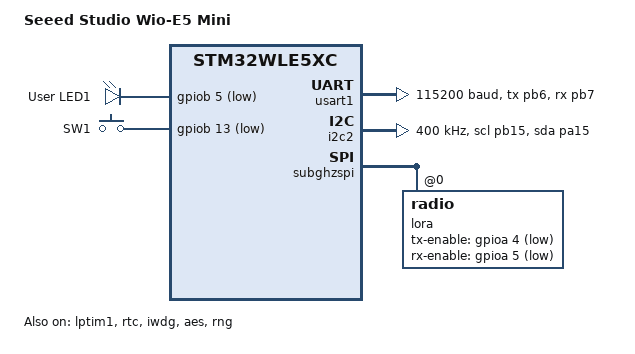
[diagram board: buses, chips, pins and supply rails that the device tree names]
/*
 * Copyright (c) 2026 Seeed Studio
 *
 * SPDX-License-Identifier: Apache-2.0
 */

/dts-v1/;
#include <st/wl/stm32wle5Xc.dtsi>
#include <zephyr/dt-bindings/pinctrl/stm32-pinctrl.h>
#include <zephyr/dt-bindings/input/input-event-codes.h>

/ {
	model = "Seeed Studio Wio-E5 Mini";
	compatible = "seeed,wio-e5-mini";

	chosen {
		zephyr,console = &usart1;
		zephyr,shell-uart = &usart1;
		zephyr,sram = &sram0;
		zephyr,flash = &flash0;
		zephyr,code-partition = &slot0_partition;
	};

	leds {
		compatible = "gpio-leds";

		red_led_1: led_1 {
			gpios = <&gpiob 5 GPIO_ACTIVE_LOW>;
			label = "User LED1";
		};
	};

	gpio_keys {
		compatible = "gpio-keys";

		boot_button: button_0 {
			label = "SW1";
			gpios = <&gpiob 13 (GPIO_ACTIVE_LOW | GPIO_PULL_UP)>;
			zephyr,code = <INPUT_KEY_0>;
		};
	};

	aliases {
		led0 = &red_led_1;
		sw0 = &boot_button;
		lora0 = &lora;
		watchdog0 = &iwdg;
	};
};

stm32_lp_tick_source: &lptim1 {
	status = "okay";
	clocks = <&rcc STM32_CLOCK(APB1, 31)>,
		 <&rcc STM32_SRC_LSI LPTIM1_SEL(1)>;
};

&clk_lsi {
	status = "okay";
};

&clk_msi {
	status = "okay";
	msi-range = <11>;
};

&rcc {
	clocks = <&clk_msi>;
	clock-frequency = <DT_FREQ_M(48)>;
	cpu1-prescaler = <1>;
	ahb3-prescaler = <1>;
	apb1-prescaler = <1>;
	apb2-prescaler = <1>;
};

&pinctrl {
	usart1_tx_pb6: usart1-tx-pb6 {
		pinmux = <STM32_PINMUX('B', 6, AF7)>;
		drive-push-pull;
		slew-rate = "high-speed";
		bias-disable;
	};

	usart1_rx_pb7: usart1-rx-pb7 {
		pinmux = <STM32_PINMUX('B', 7, AF7)>;
		bias-pull-up;
	};

	i2c2_scl_pb15: i2c2-scl-pb15 {
		pinmux = <STM32_PINMUX('B', 15, AF4)>;
		drive-open-drain;
		bias-pull-up;
		slew-rate = "high-speed";
	};

	i2c2_sda_pa15: i2c2-sda-pa15 {
		pinmux = <STM32_PINMUX('A', 15, AF4)>;
		drive-open-drain;
		bias-pull-up;
		slew-rate = "high-speed";
	};
};

&usart1 {
	pinctrl-0 = <&usart1_tx_pb6 &usart1_rx_pb7>;
	pinctrl-names = "default";
	current-speed = <115200>;
	status = "okay";
};

&i2c2 {
	pinctrl-0 = <&i2c2_scl_pb15 &i2c2_sda_pa15>;
	pinctrl-names = "default";
	status = "okay";
	clock-frequency = <I2C_BITRATE_FAST>;
};

&subghzspi {
	status = "okay";

	lora: radio@0 {
		status = "okay";
		tx-enable-gpios = <&gpioa 4 GPIO_ACTIVE_LOW>;
		rx-enable-gpios = <&gpioa 5 GPIO_ACTIVE_LOW>;
		dio3-tcxo-voltage = <SX126X_DIO3_TCXO_1V7>;
		tcxo-power-startup-delay-ms = <5>;
		power-amplifier-output = "rfo-hp";
		rfo-hp-max-power = <22>;
	};
};

&rtc {
	clocks = <&rcc STM32_CLOCK(APB1, 10)>,
		 <&rcc STM32_SRC_LSI RTC_SEL(2)>;
	status = "okay";
};

&iwdg {
	status = "okay";
};

&aes {
	status = "okay";
};

&rng {
	status = "okay";
};

&flash0 {
	partitions {
		compatible = "fixed-partitions";
		#address-cells = <1>;
		#size-cells = <1>;

		boot_partition: partition@0 {
			label = "mcuboot";
			reg = <0x00000000 DT_SIZE_K(48)>;
		};

		slot0_partition: partition@c000 {
			label = "image-0";
			reg = <0x0000c000 DT_SIZE_K(96)>;
		};

		slot1_partition: partition@24000 {
			label = "image-1";
			reg = <0x00024000 DT_SIZE_K(96)>;
		};

		storage_partition: partition@3c000 {
			label = "storage";
			reg = <0x0003c000 DT_SIZE_K(16)>;
		};
	};
};
